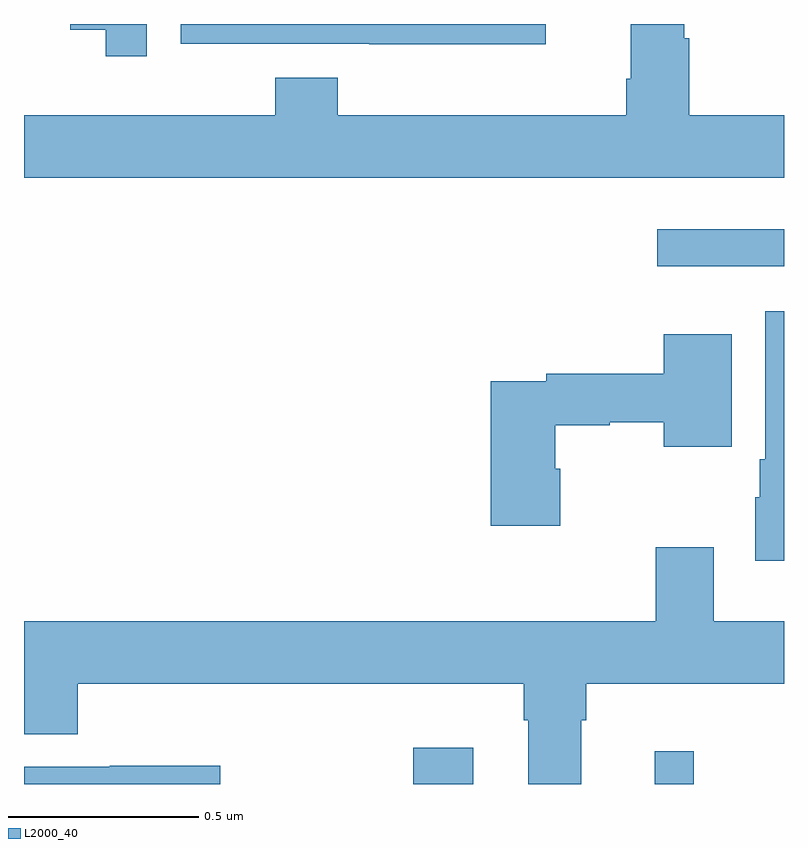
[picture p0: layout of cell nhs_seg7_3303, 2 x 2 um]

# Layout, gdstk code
import gdstk
lib = gdstk.Library(unit=1e-6, precision=1e-09)
def R(c, l, rs):  # rectangles x0, y0, x1, y1
    for r in rs: c.add(gdstk.rectangle(r[:2], r[2:], *l))
def P(c, l, *ps):  # polygons
    for p in ps: c.add(gdstk.Polygon(p, *l))
L2000_40 = (2000, 40)

nhs_seg7_3303 = lib.new_cell('nhs_seg7_3303')
R(nhs_seg7_3303, L2000_40, [(158.024,1019,158.182,1019.095), (158.66,1019,158.762,1019.086), (158.667,1020.363,159,1020.46)])
P(nhs_seg7_3303, L2000_40, [(159,1020.76),(158.75,1020.76),(158.75,1020.962),(158.737,1020.962),(158.737,1021),(158.597,1021),(158.597,1020.856),(158.585,1020.856),(158.585,1020.76),(157.826,1020.76),(157.826,1020.859),(157.661,1020.859),(157.661,1020.76),(157,1020.76),(157,1020.596),(159,1020.596)],
  [(158.373,1021),(157.413,1021),(157.413,1020.948),(157.909,1020.948),(157.909,1020.947),(158.373,1020.947)],
  [(157.323,1021),(157.122,1021),(157.122,1020.985),(157.215,1020.985),(157.215,1020.915),(157.323,1020.915)],
  [(159,1020.244),(158.951,1020.244),(158.951,1019.854),(158.936,1019.854),(158.936,1019.754),(158.924,1019.754),(158.924,1019.588),(159,1019.588)],
  [(158.411,1019.829),(158.398,1019.829),(158.398,1019.944),(158.541,1019.944),(158.541,1019.952),(158.684,1019.952),(158.684,1019.888),(158.863,1019.888),(158.863,1020.184),(158.684,1020.184),(158.684,1020.08),(158.374,1020.08),(158.374,1020.06),(158.228,1020.06),(158.228,1019.679),(158.411,1019.679)],
  [(158.467,1019.168),(158.48,1019.168),(158.48,1019.264),(159,1019.264),(159,1019.428),(158.815,1019.428),(158.815,1019.623),(158.663,1019.623),(158.663,1019.428),(157,1019.428),(157,1019.131),(157.142,1019.131),(157.142,1019.264),(158.315,1019.264),(158.315,1019.168),(158.327,1019.168),(158.327,1019),(158.467,1019)],
  [(157.517,1019.048),(157.225,1019.048),(157.225,1019.046),(157,1019.046),(157,1019),(157.517,1019)])

lib.write_gds('nhs_seg7_3303.gds')
